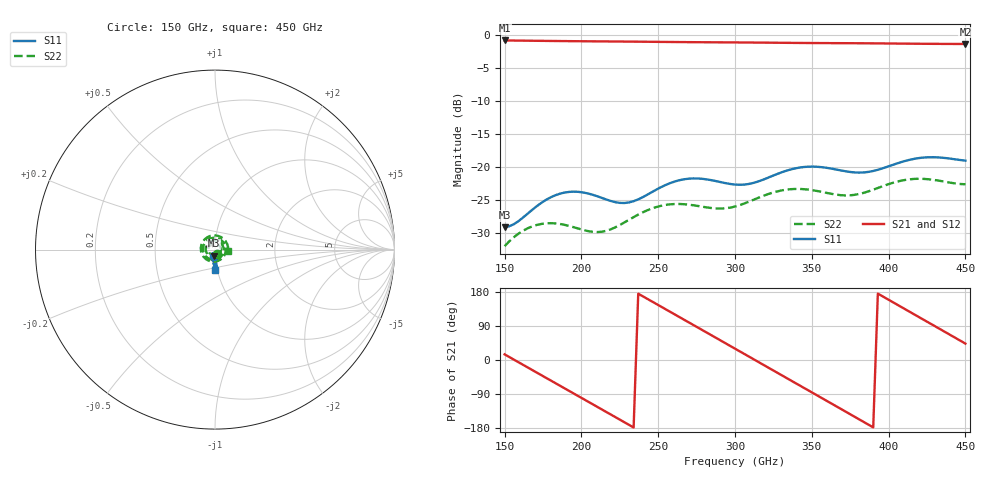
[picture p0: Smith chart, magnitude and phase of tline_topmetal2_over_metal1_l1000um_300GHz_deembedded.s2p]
! Created with skrf 2.0.1 (http://scikit-rf.org).
# GHz S DB R 50.0
!freq dBS11 angS11 dBS21 angS21 dBS12 angS12 dBS22 angS22
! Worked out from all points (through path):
!   101 points, 150 GHz to 450 GHz, reference 50 ohm
!   highest |S21| = -0.84 dB at 150 GHz (marker M1); lowest = -1.4 dB at 450 GHz (marker M2)
!   group delay of S21, straight-line fit = 6.4 ps
!   lowest |S11| = -29.1 dB at 150 GHz (marker M3), VSWR 1.07, Z = 49.4 - j3.43 ohm
!   |S11| at or under -10 dB: start of sweep to end of sweep
!   |S22| runs from -32.0 to -21.8 dB; largest |S21 - S12| = 1e-13
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150  -29.12 -98.0  -0.84 14.9  -0.84 14.9  -32.00 -69.0
171  -25.94 -82.7  -0.89 -33.3  -0.89 -33.3  -28.78 -151.8
186  -24.05 -90.2  -0.93 -67.8  -0.93 -67.8  -28.64 148.4
201  -23.86 -99.9  -0.96 -102.2  -0.96 -102.2  -29.54 80.2
213  -24.67 -102.7  -0.98 -129.8  -0.98 -129.8  -29.83 16.9
228  -25.46 -94.6  -1.00 -164.3  -1.00 -164.3  -28.41 -61.9
240  -24.57 -85.8  -1.03 168.1  -1.03 168.1  -26.87 -117.4
252  -23.05 -84.3  -1.05 140.5  -1.05 140.5  -25.88 -168.4
264  -22.00 -88.6  -1.08 112.9  -1.08 112.9  -25.61 141.2
276  -21.75 -94.0  -1.10 85.3  -1.10 85.3  -25.92 88.1
300  -22.67 -93.9  -1.13 30.0  -1.13 30.0  -26.00 -31.4
312  -22.42 -87.5  -1.15 2.3  -1.15 2.3  -24.98 -90.3
324  -21.39 -84.2  -1.18 -25.4  -1.18 -25.4  -23.93 -144.2
339  -20.23 -87.1  -1.21 -60.0  -1.21 -60.0  -23.33 152.0
351  -19.95 -91.6  -1.23 -87.7  -1.23 -87.7  -23.54 100.1
363  -20.26 -94.4  -1.24 -115.4  -1.24 -115.4  -24.08 44.3
378  -20.83 -91.6  -1.26 -150.1  -1.26 -150.1  -24.22 -31.7
390  -20.61 -86.0  -1.27 -177.9  -1.27 -177.9  -23.44 -91.9
402  -19.74 -83.0  -1.30 154.4  -1.30 154.4  -22.46 -147.4
426  -18.53 -87.9  -1.35 98.9  -1.35 98.9  -21.86 108.7
438  -18.68 -90.5  -1.36 71.1  -1.36 71.1  -22.30 54.0
450  -19.04 -89.7  -1.37 43.3  -1.37 43.3  -22.62 -5.2
